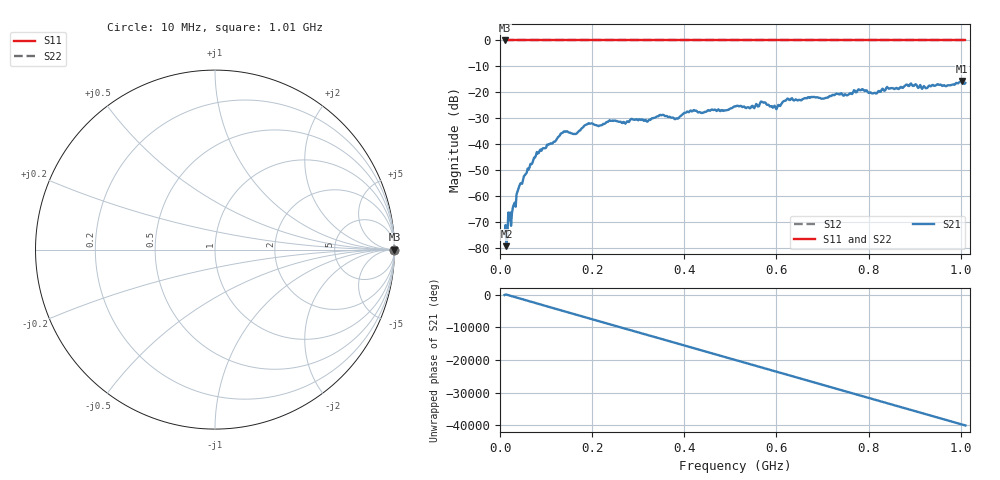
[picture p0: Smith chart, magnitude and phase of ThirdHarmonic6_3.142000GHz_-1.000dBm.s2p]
! 8/17/2025 9:23:03 AM
! C:\ANRITSUVNA\TEMP\TEMP.S2P
! CHANNEL.1
! TR.MEASUREMENT
! RAW.DATA
! RF.CORRECTION.OFF
! AVERAGING.OFF
! IF.BANDWIDTH: 5KHZ
! SWEEPTYPE:  FREQ.SWEEP(Linear)
! Reference Plane Port Info
! PORT:  PORT1  PORT2
! DISTANCE:  0  m  0  m
! TIME:  0  s  0  s
! PHASE.OFFSET:  0  deg.  0  deg.
! LOSS:  0  dB  0  dB
! REF.LOSS:  0  dB  0  dB
! REF.FREQ:  0  Hz  0  Hz
! Power Info
! POWER:  -20  dBm  -20  dBm
! EFF.POWER:  -20  dBm  -20  dBm
! SOURCE.ATTEN:  0  dB  0  dB
! TEST.ATTEN:  0  dB  0  dB
# GHZ S RI R 50.0
! FREQ.GHZ  S11RE  S11IM  S21RE  S21IM  S12RE  S12IM  S22RE  S22IM
!; PortSelection: Port_12
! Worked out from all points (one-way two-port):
!   501 points, 10 MHz to 1.01 GHz, reference 50 ohm
!   highest |S21| = -15.70 dB at 1.002 GHz (marker M1); lowest = -79.4 dB at 14 MHz (marker M2)
!   lowest |S11| = 0.0 dB at 10 MHz (marker M3)
!   |S11| at or under -10 dB: nowhere
!   |S22| runs from 0.0 to 0.0 dB; largest |S21 - S12| = 1.1
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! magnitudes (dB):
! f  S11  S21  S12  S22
! 10 MHz  0.0  -74.4  0.0  0.0
! 14 MHz  0.0  -79.4  0.0  0.0
! 40 MHz  0.0  -57.2  0.0  0.0
! 78 MHz  0.0  -44.4  0.0  0.0
! 136 MHz  0.0  -35.6  0.0  0.0
! 162 MHz  0.0  -36.1  0.0  0.0
! 178 MHz  0.0  -33.8  0.0  0.0
! 194 MHz  0.0  -32.1  0.0  0.0
! 322 MHz  0.0  -30.9  0.0  0.0
! 344 MHz  0.0  -29.2  0.0  0.0
! 382 MHz  0.0  -30.1  0.0  0.0
! 416 MHz  0.0  -27.4  0.0  0.0
! 510 MHz  0.0  -25.4  0.0  0.0
! 570 MHz  0.0  -23.9  0.0  0.0
! 596 MHz  0.0  -25.2  0.0  0.0
! 622 MHz  0.0  -22.8  0.0  0.0
! 678 MHz  0.0  -21.9  0.0  0.0
! 782 MHz  0.0  -19.3  0.0  0.0
! 814 MHz  0.0  -20.2  0.0  0.0
! 844 MHz  0.0  -18.7  0.0  0.0
! 1.002 GHz  0.0  -15.7  0.0  0.0
! 1.01 GHz  0.0  -16.4  0.0  0.0
